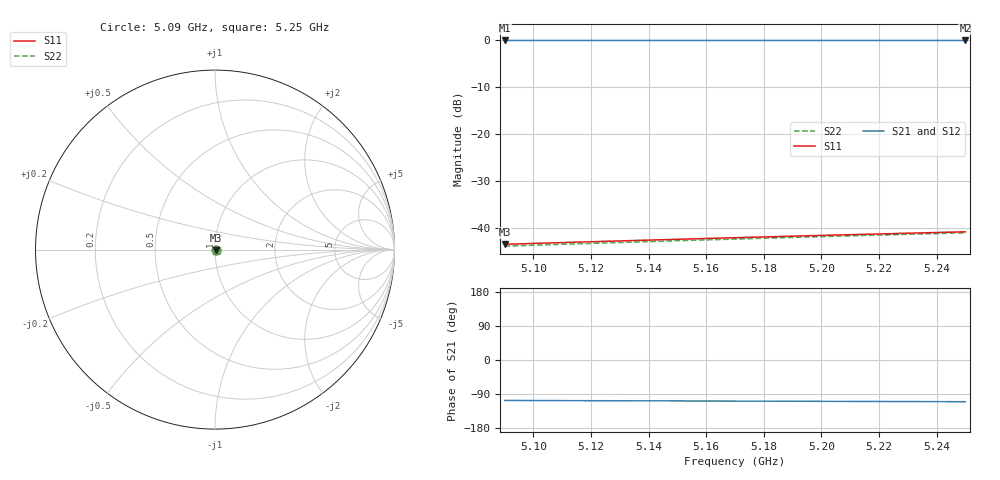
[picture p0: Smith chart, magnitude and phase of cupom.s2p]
! Touchstone file exported from HFSS 2024.2.0
!  File:  D:/dev/EMBRAER/P1H/R05_Correcao/cupons/Controle_fechado/Controle_fechado.aedt
!  Generated:  10:02:57 AM Nov  7, 2026
!  Design:  Controle_fechado
!  Project:  Controle_fechado
!  Setup:  Cupom
!  Solution:  Banda
# GHz S RI R 50.000000
! Terminal data exported
! Port[1] = Entrada
! Port[2] = Saida
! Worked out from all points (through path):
!   17 points, 5.09 GHz to 5.25 GHz, reference 50 ohm
!   highest |S21| = -0.01 dB at 5.09 GHz (marker M1); lowest = 0.0 dB at 5.25 GHz (marker M2)
!   group delay of S21, straight-line fit = 58.3 ps
!   lowest |S11| = -43.5 dB at 5.09 GHz (marker M3), VSWR 1.01, Z = 50.5 - j0.441 ohm
!   |S11| at or under -10 dB: start of sweep to end of sweep
!   |S22| runs from -43.9 to -41.0 dB; largest |S21 - S12| = 1e-15
5.09  0.00509 -0.00437  -0.2879 -0.9562  -0.2879 -0.9562  0.00641 -7.3e-05
! Gamma 0 0 0 0
! Port Impedance 50 0 50 0
5.1  0.00522 -0.00444  -0.2913 -0.9551  -0.2913 -0.9551  0.00656 -0.000137
5.11  0.00535 -0.00451  -0.2948 -0.954  -0.2948 -0.954  0.00671 -0.000202
5.12  0.00548 -0.00458  -0.2983 -0.9529  -0.2983 -0.9529  0.00686 -0.000269
5.13  0.00561 -0.00466  -0.3018 -0.9518  -0.3018 -0.9518  0.00701 -0.000336
5.14  0.00574 -0.00473  -0.3053 -0.9507  -0.3053 -0.9507  0.00716 -0.000405
5.15  0.00587 -0.00481  -0.3088 -0.9496  -0.3088 -0.9496  0.00731 -0.000476
5.16  0.006 -0.00488  -0.3123 -0.9485  -0.3123 -0.9485  0.00746 -0.000547
5.17  0.00613 -0.00496  -0.3157 -0.9473  -0.3157 -0.9473  0.00761 -0.00062
5.18  0.00626 -0.00504  -0.3192 -0.9461  -0.3192 -0.9461  0.00776 -0.000694
5.19  0.00639 -0.00512  -0.3227 -0.945  -0.3227 -0.945  0.00791 -0.000769
5.2  0.00652 -0.0052  -0.3261 -0.9438  -0.3261 -0.9438  0.00806 -0.000846
5.21  0.00665 -0.00529  -0.3296 -0.9426  -0.3296 -0.9426  0.00821 -0.000923
5.22  0.00678 -0.00537  -0.333 -0.9413  -0.333 -0.9413  0.00836 -0.001
5.23  0.00691 -0.00546  -0.3365 -0.9401  -0.3365 -0.9401  0.00851 -0.00108
5.24  0.00704 -0.00554  -0.3399 -0.9389  -0.3399 -0.9389  0.00866 -0.00116
5.25  0.00717 -0.00563  -0.3433 -0.9376  -0.3433 -0.9376  0.00881 -0.00125
